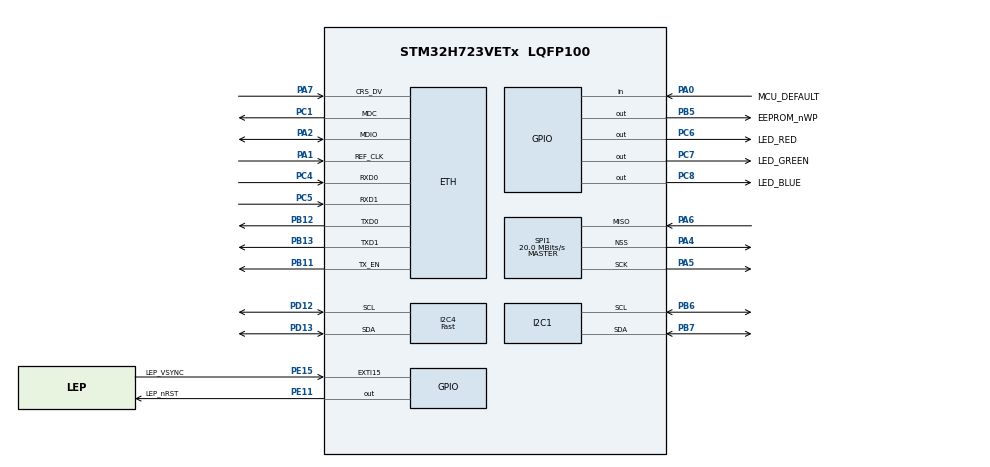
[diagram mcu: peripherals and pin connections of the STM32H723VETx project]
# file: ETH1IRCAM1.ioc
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CORTEX_M7.AccessPermission-Cortex_Memory_Protection_Unit_Region1_Settings=MPU_REGION_FULL_ACCESS
CORTEX_M7.AccessPermission-Cortex_Memory_Protection_Unit_Region2_Settings=MPU_REGION_FULL_ACCESS
CORTEX_M7.AccessPermission_S-Cortex_Memory_Protection_Unit_Region1_Settings_S=MPU_REGION_FULL_ACCESS
CORTEX_M7.AccessPermission_S-Cortex_Memory_Protection_Unit_Region2_Settings_S=MPU_REGION_FULL_ACCESS
CORTEX_M7.BaseAddress-Cortex_Memory_Protection_Unit_Region1_Settings=0x30000000
CORTEX_M7.BaseAddress-Cortex_Memory_Protection_Unit_Region2_Settings=0x30000000
CORTEX_M7.BaseAddress_S-Cortex_Memory_Protection_Unit_Region1_Settings_S=0x30000000
CORTEX_M7.BaseAddress_S-Cortex_Memory_Protection_Unit_Region2_Settings_S=0x30000000
CORTEX_M7.CPU_DCache=Enabled
CORTEX_M7.CPU_ICache=Enabled
CORTEX_M7.DisableExec-Cortex_Memory_Protection_Unit_Region0_Settings=MPU_INSTRUCTION_ACCESS_DISABLE
CORTEX_M7.DisableExec-Cortex_Memory_Protection_Unit_Region1_Settings=MPU_INSTRUCTION_ACCESS_DISABLE
CORTEX_M7.DisableExec-Cortex_Memory_Protection_Unit_Region2_Settings=MPU_INSTRUCTION_ACCESS_DISABLE
CORTEX_M7.DisableExec_S-Cortex_Memory_Protection_Unit_Region1_Settings_S=MPU_INSTRUCTION_ACCESS_DISABLE
CORTEX_M7.DisableExec_S-Cortex_Memory_Protection_Unit_Region2_Settings_S=MPU_INSTRUCTION_ACCESS_DISABLE
CORTEX_M7.Enable-Cortex_Memory_Protection_Unit_Region0_Settings=MPU_REGION_ENABLE
CORTEX_M7.Enable-Cortex_Memory_Protection_Unit_Region1_Settings=MPU_REGION_ENABLE
CORTEX_M7.Enable-Cortex_Memory_Protection_Unit_Region2_Settings=MPU_REGION_ENABLE
CORTEX_M7.Enable_S-Cortex_Memory_Protection_Unit_Region1_Settings_S=MPU_REGION_ENABLE
CORTEX_M7.Enable_S-Cortex_Memory_Protection_Unit_Region2_Settings_S=MPU_REGION_ENABLE
CORTEX_M7.IsBufferable-Cortex_Memory_Protection_Unit_Region2_Settings=MPU_ACCESS_BUFFERABLE
CORTEX_M7.IsBufferable_S-Cortex_Memory_Protection_Unit_Region2_Settings_S=MPU_ACCESS_BUFFERABLE
CORTEX_M7.IsShareable-Cortex_Memory_Protection_Unit_Region0_Settings=MPU_ACCESS_SHAREABLE
CORTEX_M7.IsShareable-Cortex_Memory_Protection_Unit_Region2_Settings=MPU_ACCESS_SHAREABLE
CORTEX_M7.IsShareable_S-Cortex_Memory_Protection_Unit_Region2_Settings_S=MPU_ACCESS_SHAREABLE
CORTEX_M7.MPU_Control=MPU_PRIVILEGED_DEFAULT
CORTEX_M7.Size-Cortex_Memory_Protection_Unit_Region0_Settings=MPU_REGION_SIZE_4GB
CORTEX_M7.Size-Cortex_Memory_Protection_Unit_Region1_Settings=MPU_REGION_SIZE_32KB
CORTEX_M7.Size-Cortex_Memory_Protection_Unit_Region2_Settings=MPU_REGION_SIZE_512B
CORTEX_M7.Size_S-Cortex_Memory_Protection_Unit_Region1_Settings_S=MPU_REGION_SIZE_32KB
CORTEX_M7.Size_S-Cortex_Memory_Protection_Unit_Region2_Settings_S=MPU_REGION_SIZE_512B
CORTEX_M7.SubRegionDisable-Cortex_Memory_Protection_Unit_Region0_Settings=0x87
CORTEX_M7.TypeExtField-Cortex_Memory_Protection_Unit_Region1_Settings=MPU_TEX_LEVEL1
CORTEX_M7.TypeExtField_S-Cortex_Memory_Protection_Unit_Region1_Settings_S=MPU_TEX_LEVEL1
CORTEX_M7.default_mode_Activation=0
CRC.InputDataInversionMode=CRC_INPUTDATA_INVERSION_NONE
ETH.MediaInterface=HAL_ETH_RMII_MODE
FREERTOS.MEMORY_ALLOCATION=2
FREERTOS.Mutexes01=LeptonMutex,Static,LeptonMutexControlBlock
FREERTOS.Tasks01=defaultTask,24,512,StartDefaultTask,Default,NULL,Static,defaultTaskBuffer,defaultTaskControlBlock
FREERTOS.configENABLE_FPU=1
FREERTOS.configMINIMAL_STACK_SIZE=512
FREERTOS.configTOTAL_HEAP_SIZE=30720
FREERTOS.configUSE_NEWLIB_REENTRANT=1
I2C1.Timing=0x20B0BBFF
I2C4.I2C_Speed_Mode=I2C_Fast
I2C4.Timing=0x00D048F6
LWIP.BSP.number=1
LWIP.DEFAULT_THREAD_STACKSIZE=2048
LWIP.GATEWAY_ADDRESS=192.168.001.001
LWIP.IP_ADDRESS=192.168.001.056
LWIP.LWIP_DHCP=0
LWIP.LWIP_RAM_HEAP_POINTER=0x30000200
LWIP.MEM_SIZE=32232
LWIP.NETMASK_ADDRESS=255.255.255.000
LWIP.TCPIP_THREAD_STACKSIZE=2048
LWIP.Version=v2.1.2_Cube
LWIP0.BSP.STBoard=false
LWIP0.BSP.api=BSP_COMPONENT_DRIVER
LWIP0.BSP.component=LAN8742
LWIP0.BSP.instance=LAN8742
LWIP0.BSP.name=Driver_PHY
LWIP0.BSP.semaphore=S_LAN8742
LWIP0.BSP.solution=LAN8742
Mcu.Family=STM32H7
Mcu.Name=STM32H723VETx
Mcu.Package=LQFP100
NVIC.ETH_IRQn=true\:5\:0\:false\:false\:true\:true\:true\:true\:true
NVIC.PriorityGroup=NVIC_PRIORITYGROUP_4
NVIC.TIM1_UP_IRQn=true\:15\:0\:false\:false\:true\:false\:false\:true\:true
NVIC.TimeBase=TIM1_UP_IRQn
NVIC.TimeBaseIP=TIM1
PA0.GPIO_Label=MCU_DEFAULT
PA0.Signal=GPIO_Input
PA1.GPIO_Speed=GPIO_SPEED_FREQ_VERY_HIGH
PA1.Mode=RMII
PA1.Signal=ETH_REF_CLK
PA13(JTMS/SWDIO).Mode=Serial_Wire
PA13(JTMS/SWDIO).Signal=DEBUG_JTMS-SWDIO
PA14(JTCK/SWCLK).Mode=Serial_Wire
PA14(JTCK/SWCLK).Signal=DEBUG_JTCK-SWCLK
PA2.GPIO_Speed=GPIO_SPEED_FREQ_VERY_HIGH
PA2.Mode=RMII
PA2.Signal=ETH_MDIO
PA4.GPIO_PuPd=GPIO_PULLUP
PA4.GPIO_Speed=GPIO_SPEED_FREQ_VERY_HIGH
PA4.Mode=NSS_Signal_Hard_Output
PA4.Signal=SPI1_NSS
PA5.GPIO_PuPd=GPIO_NOPULL
PA5.GPIO_Speed=GPIO_SPEED_FREQ_VERY_HIGH
PA5.Mode=RX_Only_Simplex_Unidirect_Master
PA5.Signal=SPI1_SCK
PA6.GPIO_PuPd=GPIO_NOPULL
PA6.GPIO_Speed=GPIO_SPEED_FREQ_MEDIUM
PA6.Mode=RX_Only_Simplex_Unidirect_Master
PA6.Signal=SPI1_MISO
PA7.GPIO_Speed=GPIO_SPEED_FREQ_VERY_HIGH
PA7.Mode=RMII
PA7.Signal=ETH_CRS_DV
PB11.GPIO_Speed=GPIO_SPEED_FREQ_VERY_HIGH
PB11.Mode=RMII
PB11.Signal=ETH_TX_EN
PB12.GPIO_Speed=GPIO_SPEED_FREQ_VERY_HIGH
PB12.Mode=RMII
PB12.Signal=ETH_TXD0
PB13.GPIO_Speed=GPIO_SPEED_FREQ_VERY_HIGH
PB13.Mode=RMII
PB13.Signal=ETH_TXD1
PB5.GPIO_Label=EEPROM_nWP
PB5.GPIO_Speed=GPIO_SPEED_FREQ_HIGH
PB5.PinState=GPIO_PIN_SET
PB5.Signal=GPIO_Output
PB6.Mode=I2C
PB6.Signal=I2C1_SCL
PB7.Mode=I2C
PB7.Signal=I2C1_SDA
PC1.GPIO_Speed=GPIO_SPEED_FREQ_VERY_HIGH
PC1.Mode=RMII
PC1.Signal=ETH_MDC
PC4.GPIO_Speed=GPIO_SPEED_FREQ_VERY_HIGH
PC4.Mode=RMII
PC4.Signal=ETH_RXD0
PC5.GPIO_Speed=GPIO_SPEED_FREQ_VERY_HIGH
PC5.Mode=RMII
PC5.Signal=ETH_RXD1
PC6.GPIO_Label=LED_RED
PC6.GPIO_Speed=GPIO_SPEED_FREQ_HIGH
PC6.PinState=GPIO_PIN_SET
PC6.Signal=GPIO_Output
PC7.GPIO_Label=LED_GREEN
PC7.GPIO_Speed=GPIO_SPEED_FREQ_HIGH
PC7.PinState=GPIO_PIN_SET
PC7.Signal=GPIO_Output
PC8.GPIO_Label=LED_BLUE
PC8.GPIO_Speed=GPIO_SPEED_FREQ_HIGH
PC8.PinState=GPIO_PIN_SET
PC8.Signal=GPIO_Output
PD12.Mode=I2C
PD12.Signal=I2C4_SCL
PD13.Mode=I2C
PD13.Signal=I2C4_SDA
PE11.GPIO_Label=LEP_nRST
PE11.GPIO_Speed=GPIO_SPEED_FREQ_HIGH
PE11.PinState=GPIO_PIN_SET
PE11.Signal=GPIO_Output
PE15.GPIO_Label=LEP_VSYNC
PE15.Signal=GPXTI15
PH0-OSC_IN.Mode=HSE-External-Oscillator
PH0-OSC_IN.Signal=RCC_OSC_IN
PH1-OSC_OUT.Mode=HSE-External-Oscillator
PH1-OSC_OUT.Signal=RCC_OSC_OUT
ProjectManager.HeapSize=0x200
ProjectManager.StackSize=0x400
ProjectManager.TargetToolchain=STM32CubeIDE
RCC.ADCFreq_Value=160000000
RCC.APB1Freq_Value=135000000
RCC.APB2Freq_Value=135000000
RCC.APB3Freq_Value=135000000
RCC.APB4Freq_Value=135000000
RCC.CortexFreq_Value=540000000
RCC.D1PPRE=RCC_APB3_DIV2
RCC.D2PPRE1=RCC_APB1_DIV2
RCC.D2PPRE2=RCC_APB2_DIV2
RCC.D3PPRE=RCC_APB4_DIV2
RCC.DIVM1=4
RCC.DIVM2=2
RCC.DIVN1=135
RCC.DIVN2=40
RCC.DIVP1=1
RCC.HCLKFreq_Value=270000000
RCC.HPRE=RCC_HCLK_DIV2
RCC.HSE_VALUE=16000000
RCC.PLLSourceVirtual=RCC_PLLSOURCE_HSE
RCC.SPI123CLockSelection=RCC_SPI123CLKSOURCE_PLL2
RCC.SYSCLKFreq_VALUE=540000000
RCC.SYSCLKSource=RCC_SYSCLKSOURCE_PLLCLK
RCC.USBFreq_Value=270000000
SPI1.BaudRatePrescaler=SPI_BAUDRATEPRESCALER_8
SPI1.CLKPhase=SPI_PHASE_2EDGE
SPI1.CLKPolarity=SPI_POLARITY_HIGH
SPI1.CalculateBaudRate=20.0 MBits/s
SPI1.DataSize=SPI_DATASIZE_8BIT
SPI1.Direction=SPI_DIRECTION_2LINES_RXONLY
SPI1.FirstBit=SPI_FIRSTBIT_MSB
SPI1.MasterSSIdleness=SPI_MASTER_SS_IDLENESS_00CYCLE
SPI1.Mode=SPI_MODE_MASTER
SPI1.TIMode=SPI_TIMODE_DISABLE
SPI1.VirtualNSS=VM_NSSHARD
SPI1.VirtualType=VM_MASTER
VP_CRC_VS_CRC.Mode=CRC_Activate
VP_FREERTOS_VS_CMSIS_V2.Mode=CMSIS_V2
VP_LWIP_VS_Enabled.Mode=Enabled
VP_RNG_VS_RNG.Mode=RNG_Activate
VP_SYS_VS_tim1.Mode=TIM1
board=custom

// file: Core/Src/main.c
/* USER CODE BEGIN Header */
/**
  ******************************************************************************
  * @file           : main.c
  * @brief          : Main program body
  ******************************************************************************
  * @attention
  *
  * Copyright (c) 2024 STMicroelectronics.
  * All rights reserved.
  *
  * This software is licensed under terms that can be found in the LICENSE file
  * in the root directory of this software component.
  * If no LICENSE file comes with this software, it is provided AS-IS.
  *
  ******************************************************************************
  */
/* USER CODE END Header */
#include "main.h"
#include "cmsis_os.h"
#include "lwip.h"

/* USER CODE BEGIN Includes */
#include "SCPI_Server.h"
#include "LED.h"
#include "Lepton.h"
#include "BSP.h"

/* USER CODE END Includes */

typedef StaticTask_t osStaticThreadDef_t;
typedef StaticSemaphore_t osStaticMutexDef_t;

I2C_HandleTypeDef hi2c1;
I2C_HandleTypeDef hi2c4;

SPI_HandleTypeDef hspi1;

/* Definitions for defaultTask */
osThreadId_t defaultTaskHandle;
uint32_t defaultTaskBuffer[ 512 ];
osStaticThreadDef_t defaultTaskControlBlock;
const osThreadAttr_t defaultTask_attributes = {
  .name = "defaultTask",
  .cb_mem = &defaultTaskControlBlock,
  .cb_size = sizeof(defaultTaskControlBlock),
  .stack_mem = &defaultTaskBuffer[0],
  .stack_size = sizeof(defaultTaskBuffer),
  .priority = (osPriority_t) osPriorityNormal,
};
/* Definitions for LeptonMutex */
osMutexId_t LeptonMutexHandle;
osStaticMutexDef_t LeptonMutexControlBlock;
const osMutexAttr_t LeptonMutex_attributes = {
  .name = "LeptonMutex",
  .cb_mem = &LeptonMutexControlBlock,
  .cb_size = sizeof(LeptonMutexControlBlock),
};
/* USER CODE BEGIN PV */
extern osThreadId_t defaultTaskHandle;
extern const osThreadAttr_t LeptonTask_attributes;
extern cci_result_t lep_init_status;
/* USER CODE END PV */

void SystemClock_Config(void);
void PeriphCommonClock_Config(void);
static void MPU_Config(void);
static void MX_GPIO_Init(void);
static void MX_SPI1_Init(void);
static void MX_I2C1_Init(void);
static void MX_I2C4_Init(void);
static void MX_CRC_Init(void);
static void MX_RNG_Init(void);
void StartDefaultTask(void *argument);

int main(void)
{

  /* MPU Configuration--------------------------------------------------------*/
  MPU_Config();
/* Enable the CPU Cache */

  /* Enable I-Cache---------------------------------------------------------*/
  SCB_EnableICache();

  /* Enable D-Cache---------------------------------------------------------*/
  SCB_EnableDCache();

  /* MCU Configuration--------------------------------------------------------*/

  /* Reset of all peripherals, Initializes the Flash interface and the Systick. */
  HAL_Init();

  /* Configure the system clock */
  SystemClock_Config();

/* Configure the peripherals common clocks */
  PeriphCommonClock_Config();

  /* Initialize all configured peripherals */
  MX_GPIO_Init();
  MX_SPI1_Init();
  MX_I2C1_Init();
  MX_I2C4_Init();
  MX_CRC_Init();
  MX_RNG_Init();
  /* USER CODE BEGIN 2 */
  LED_Control(BLUE, 1);
  HAL_Delay(100); // Need this wait to get lwip to work
  BSP_Init();
  /* USER CODE END 2 */

  /* Init scheduler */
  osKernelInitialize();
  /* Create the mutex(es) */
  /* creation of LeptonMutex */
  LeptonMutexHandle = osMutexNew(&LeptonMutex_attributes);

  /* Create the thread(s) */
  /* creation of defaultTask */
  defaultTaskHandle = osThreadNew(StartDefaultTask, NULL, &defaultTask_attributes);

  /* Start scheduler */
  osKernelStart();

  /* We should never get here as control is now taken by the scheduler */
  /* Infinite loop */
  while (1)
  {

  }
}

void SystemClock_Config(void)
{
  LL_FLASH_SetLatency(LL_FLASH_LATENCY_3);
  while(LL_FLASH_GetLatency()!= LL_FLASH_LATENCY_3)
  {
  }
  LL_PWR_ConfigSupply(LL_PWR_LDO_SUPPLY);
  LL_PWR_SetRegulVoltageScaling(LL_PWR_REGU_VOLTAGE_SCALE0);
  while (LL_PWR_IsActiveFlag_VOS() == 0)
  {
  }
  LL_RCC_HSE_Enable();

   /* Wait till HSE is ready */
  while(LL_RCC_HSE_IsReady() != 1)
  {

  }
  LL_RCC_HSI48_Enable();

   /* Wait till HSI48 is ready */
  while(LL_RCC_HSI48_IsReady() != 1)
  {

  }
  LL_RCC_PLL_SetSource(LL_RCC_PLLSOURCE_HSE);
  LL_RCC_PLL1P_Enable();
  LL_RCC_PLL1R_Enable();
  LL_RCC_PLL1_SetVCOInputRange(LL_RCC_PLLINPUTRANGE_4_8);
  LL_RCC_PLL1_SetVCOOutputRange(LL_RCC_PLLVCORANGE_WIDE);
  LL_RCC_PLL1_SetM(4);
  LL_RCC_PLL1_SetN(135);
  LL_RCC_PLL1_SetP(1);
  LL_RCC_PLL1_SetQ(2);
  LL_RCC_PLL1_SetR(2);
  LL_RCC_PLL1_Enable();

   /* Wait till PLL is ready */
  while(LL_RCC_PLL1_IsReady() != 1)
  {
  }

   /* Intermediate AHB prescaler 2 when target frequency clock is higher than 80 MHz */
   LL_RCC_SetAHBPrescaler(LL_RCC_AHB_DIV_2);

  LL_RCC_SetSysClkSource(LL_RCC_SYS_CLKSOURCE_PLL1);

   /* Wait till System clock is ready */
  while(LL_RCC_GetSysClkSource() != LL_RCC_SYS_CLKSOURCE_STATUS_PLL1)
  {

  }
  LL_RCC_SetSysPrescaler(LL_RCC_SYSCLK_DIV_1);
  LL_RCC_SetAHBPrescaler(LL_RCC_AHB_DIV_2);
  LL_RCC_SetAPB1Prescaler(LL_RCC_APB1_DIV_2);
  LL_RCC_SetAPB2Prescaler(LL_RCC_APB2_DIV_2);
  LL_RCC_SetAPB3Prescaler(LL_RCC_APB3_DIV_2);
  LL_RCC_SetAPB4Prescaler(LL_RCC_APB4_DIV_2);
  LL_SetSystemCoreClock(540000000);

   /* Update the time base */
  if (HAL_InitTick (TICK_INT_PRIORITY) != HAL_OK)
  {
    Error_Handler();
  }
}

void PeriphCommonClock_Config(void)
{
  LL_RCC_PLL2P_Enable();
  LL_RCC_PLL2_SetVCOInputRange(LL_RCC_PLLINPUTRANGE_8_16);
  LL_RCC_PLL2_SetVCOOutputRange(LL_RCC_PLLVCORANGE_WIDE);
  LL_RCC_PLL2_SetM(2);
  LL_RCC_PLL2_SetN(40);
  LL_RCC_PLL2_SetP(2);
  LL_RCC_PLL2_SetQ(2);
  LL_RCC_PLL2_SetR(2);
  LL_RCC_PLL2_Enable();

   /* Wait till PLL is ready */
  while(LL_RCC_PLL2_IsReady() != 1)
  {
  }

}

static void MX_CRC_Init(void)
{

  /* Peripheral clock enable */
  LL_AHB4_GRP1_EnableClock(LL_AHB4_GRP1_PERIPH_CRC);

  LL_CRC_SetInputDataReverseMode(CRC, LL_CRC_INDATA_REVERSE_NONE);
  LL_CRC_SetOutputDataReverseMode(CRC, LL_CRC_OUTDATA_REVERSE_NONE);
  LL_CRC_SetPolynomialCoef(CRC, LL_CRC_DEFAULT_CRC32_POLY);
  LL_CRC_SetPolynomialSize(CRC, LL_CRC_POLYLENGTH_32B);
  LL_CRC_SetInitialData(CRC, LL_CRC_DEFAULT_CRC_INITVALUE);

}

static void MX_I2C1_Init(void)
{

  hi2c1.Instance = I2C1;
  hi2c1.Init.Timing = 0x20B0BBFF;
  hi2c1.Init.OwnAddress1 = 0;
  hi2c1.Init.AddressingMode = I2C_ADDRESSINGMODE_7BIT;
  hi2c1.Init.DualAddressMode = I2C_DUALADDRESS_DISABLE;
  hi2c1.Init.OwnAddress2 = 0;
  hi2c1.Init.OwnAddress2Masks = I2C_OA2_NOMASK;
  hi2c1.Init.GeneralCallMode = I2C_GENERALCALL_DISABLE;
  hi2c1.Init.NoStretchMode = I2C_NOSTRETCH_DISABLE;
  if (HAL_I2C_Init(&hi2c1) != HAL_OK)
  {
    Error_Handler();
  }

  /** Configure Analogue filter
  */
  if (HAL_I2CEx_ConfigAnalogFilter(&hi2c1, I2C_ANALOGFILTER_ENABLE) != HAL_OK)
  {
    Error_Handler();
  }

  /** Configure Digital filter
  */
  if (HAL_I2CEx_ConfigDigitalFilter(&hi2c1, 0) != HAL_OK)
  {
    Error_Handler();
  }

}

static void MX_I2C4_Init(void)
{

  hi2c4.Instance = I2C4;
  hi2c4.Init.Timing = 0x00D048F6;
  hi2c4.Init.OwnAddress1 = 0;
  hi2c4.Init.AddressingMode = I2C_ADDRESSINGMODE_7BIT;
  hi2c4.Init.DualAddressMode = I2C_DUALADDRESS_DISABLE;
  hi2c4.Init.OwnAddress2 = 0;
  hi2c4.Init.OwnAddress2Masks = I2C_OA2_NOMASK;
  hi2c4.Init.GeneralCallMode = I2C_GENERALCALL_DISABLE;
  hi2c4.Init.NoStretchMode = I2C_NOSTRETCH_DISABLE;
  if (HAL_I2C_Init(&hi2c4) != HAL_OK)
  {
    Error_Handler();
  }

  /** Configure Analogue filter
  */
  if (HAL_I2CEx_ConfigAnalogFilter(&hi2c4, I2C_ANALOGFILTER_ENABLE) != HAL_OK)
  {
    Error_Handler();
  }

  /** Configure Digital filter
  */
  if (HAL_I2CEx_ConfigDigitalFilter(&hi2c4, 0) != HAL_OK)
  {
    Error_Handler();
  }

}

static void MX_RNG_Init(void)
{

  LL_RCC_SetRNGClockSource(LL_RCC_RNG_CLKSOURCE_HSI48);

  /* Peripheral clock enable */
  LL_AHB2_GRP1_EnableClock(LL_AHB2_GRP1_PERIPH_RNG);

  LL_RNG_Enable(RNG);

}

static void MX_SPI1_Init(void)
{

  /* SPI1 parameter configuration*/
  hspi1.Instance = SPI1;
  hspi1.Init.Mode = SPI_MODE_MASTER;
  hspi1.Init.Direction = SPI_DIRECTION_2LINES_RXONLY;
  hspi1.Init.DataSize = SPI_DATASIZE_8BIT;
  hspi1.Init.CLKPolarity = SPI_POLARITY_HIGH;
  hspi1.Init.CLKPhase = SPI_PHASE_2EDGE;
  hspi1.Init.NSS = SPI_NSS_HARD_OUTPUT;
  hspi1.Init.BaudRatePrescaler = SPI_BAUDRATEPRESCALER_8;
  hspi1.Init.FirstBit = SPI_FIRSTBIT_MSB;
  hspi1.Init.TIMode = SPI_TIMODE_DISABLE;
  hspi1.Init.CRCCalculation = SPI_CRCCALCULATION_DISABLE;
  hspi1.Init.CRCPolynomial = 0x0;
  hspi1.Init.NSSPMode = SPI_NSS_PULSE_ENABLE;
  hspi1.Init.NSSPolarity = SPI_NSS_POLARITY_LOW;
  hspi1.Init.FifoThreshold = SPI_FIFO_THRESHOLD_01DATA;
  hspi1.Init.TxCRCInitializationPattern = SPI_CRC_INITIALIZATION_ALL_ZERO_PATTERN;
  hspi1.Init.RxCRCInitializationPattern = SPI_CRC_INITIALIZATION_ALL_ZERO_PATTERN;
  hspi1.Init.MasterSSIdleness = SPI_MASTER_SS_IDLENESS_00CYCLE;
  hspi1.Init.MasterInterDataIdleness = SPI_MASTER_INTERDATA_IDLENESS_00CYCLE;
  hspi1.Init.MasterReceiverAutoSusp = SPI_MASTER_RX_AUTOSUSP_DISABLE;
  hspi1.Init.MasterKeepIOState = SPI_MASTER_KEEP_IO_STATE_DISABLE;
  hspi1.Init.IOSwap = SPI_IO_SWAP_DISABLE;
  if (HAL_SPI_Init(&hspi1) != HAL_OK)
  {
    Error_Handler();
  }

}

static void MX_GPIO_Init(void)
{
  LL_EXTI_InitTypeDef EXTI_InitStruct = {0};
  LL_GPIO_InitTypeDef GPIO_InitStruct = {0};

  /* GPIO Ports Clock Enable */
  LL_AHB4_GRP1_EnableClock(LL_AHB4_GRP1_PERIPH_GPIOH);
  LL_AHB4_GRP1_EnableClock(LL_AHB4_GRP1_PERIPH_GPIOC);
  LL_AHB4_GRP1_EnableClock(LL_AHB4_GRP1_PERIPH_GPIOA);
  LL_AHB4_GRP1_EnableClock(LL_AHB4_GRP1_PERIPH_GPIOE);
  LL_AHB4_GRP1_EnableClock(LL_AHB4_GRP1_PERIPH_GPIOB);
  LL_AHB4_GRP1_EnableClock(LL_AHB4_GRP1_PERIPH_GPIOD);

  /**/
  LL_GPIO_SetOutputPin(LEP_nRST_GPIO_Port, LEP_nRST_Pin);

  /**/
  LL_GPIO_SetOutputPin(GPIOC, LED_RED_Pin|LED_GREEN_Pin|LED_BLUE_Pin);

  /**/
  LL_GPIO_SetOutputPin(EEPROM_nWP_GPIO_Port, EEPROM_nWP_Pin);

  /**/
  GPIO_InitStruct.Pin = MCU_DEFAULT_Pin;
  GPIO_InitStruct.Mode = LL_GPIO_MODE_INPUT;
  GPIO_InitStruct.Pull = LL_GPIO_PULL_NO;
  LL_GPIO_Init(MCU_DEFAULT_GPIO_Port, &GPIO_InitStruct);

  /**/
  GPIO_InitStruct.Pin = LEP_nRST_Pin;
  GPIO_InitStruct.Mode = LL_GPIO_MODE_OUTPUT;
  GPIO_InitStruct.Speed = LL_GPIO_SPEED_FREQ_HIGH;
  GPIO_InitStruct.OutputType = LL_GPIO_OUTPUT_PUSHPULL;
  GPIO_InitStruct.Pull = LL_GPIO_PULL_NO;
  LL_GPIO_Init(LEP_nRST_GPIO_Port, &GPIO_InitStruct);

  /**/
  GPIO_InitStruct.Pin = LED_RED_Pin|LED_GREEN_Pin|LED_BLUE_Pin;
  GPIO_InitStruct.Mode = LL_GPIO_MODE_OUTPUT;
  GPIO_InitStruct.Speed = LL_GPIO_SPEED_FREQ_HIGH;
  GPIO_InitStruct.OutputType = LL_GPIO_OUTPUT_PUSHPULL;
  GPIO_InitStruct.Pull = LL_GPIO_PULL_NO;
  LL_GPIO_Init(GPIOC, &GPIO_InitStruct);

  /**/
  GPIO_InitStruct.Pin = EEPROM_nWP_Pin;
  GPIO_InitStruct.Mode = LL_GPIO_MODE_OUTPUT;
  GPIO_InitStruct.Speed = LL_GPIO_SPEED_FREQ_HIGH;
  GPIO_InitStruct.OutputType = LL_GPIO_OUTPUT_PUSHPULL;
  GPIO_InitStruct.Pull = LL_GPIO_PULL_NO;
  LL_GPIO_Init(EEPROM_nWP_GPIO_Port, &GPIO_InitStruct);

  /**/
  LL_SYSCFG_SetEXTISource(LL_SYSCFG_EXTI_PORTE, LL_SYSCFG_EXTI_LINE15);

  /**/
  EXTI_InitStruct.Line_0_31 = LL_EXTI_LINE_15;
  EXTI_InitStruct.Line_32_63 = LL_EXTI_LINE_NONE;
  EXTI_InitStruct.Line_64_95 = LL_EXTI_LINE_NONE;
  EXTI_InitStruct.LineCommand = ENABLE;
  EXTI_InitStruct.Mode = LL_EXTI_MODE_IT;
  EXTI_InitStruct.Trigger = LL_EXTI_TRIGGER_RISING;
  LL_EXTI_Init(&EXTI_InitStruct);

  /**/
  LL_GPIO_SetPinPull(LEP_VSYNC_GPIO_Port, LEP_VSYNC_Pin, LL_GPIO_PULL_NO);

  /**/
  LL_GPIO_SetPinMode(LEP_VSYNC_GPIO_Port, LEP_VSYNC_Pin, LL_GPIO_MODE_INPUT);

}

void StartDefaultTask(void *argument)
{
  /* init code for LWIP */
  MX_LWIP_Init();
  /* USER CODE BEGIN 5 */
  osDelay(pdMS_TO_TICKS(100)); // Need this wait to get lwip to work
  SCPI_CreateTask();
  LEP_CreateMainTask();
  /* Infinite loop */
  for(;;)
  {
	  if (CCI_NOT_READY == lep_init_status)
	  {
		  LED_Control(BLUE, 1);
		  osDelay(pdMS_TO_TICKS(10));
	  }
	  else if (CCI_OK == lep_init_status)
	  {
		  if (bsp.default_cfg)
		  {
			  LED_Toggle(BLUE, 5, 2000);
		  }
		  else
		  {
			  LED_Toggle(GREEN, 5, 2000);
		  }
	  }
	  else
	  {
		  LED_Toggle(RED, 5, 2000);
	  }

  }
  /* USER CODE END 5 */
}

/* MPU Configuration */

void MPU_Config(void)
{

  /* Disables the MPU */
  LL_MPU_Disable();

  /** Initializes and configures the Region and the memory to be protected
  */
  LL_MPU_ConfigRegion(LL_MPU_REGION_NUMBER0, 0x87, 0x0, LL_MPU_REGION_SIZE_4GB|LL_MPU_TEX_LEVEL0|LL_MPU_REGION_NO_ACCESS|LL_MPU_INSTRUCTION_ACCESS_DISABLE|LL_MPU_ACCESS_SHAREABLE|LL_MPU_ACCESS_NOT_CACHEABLE|LL_MPU_ACCESS_NOT_BUFFERABLE);
  LL_MPU_EnableRegion(LL_MPU_REGION_NUMBER0);

  /** Initializes and configures the Region and the memory to be protected
  */
  LL_MPU_ConfigRegion(LL_MPU_REGION_NUMBER1, 0x0, 0x30000000, LL_MPU_REGION_SIZE_32KB|LL_MPU_TEX_LEVEL1|LL_MPU_REGION_FULL_ACCESS|LL_MPU_INSTRUCTION_ACCESS_DISABLE|LL_MPU_ACCESS_NOT_SHAREABLE|LL_MPU_ACCESS_NOT_CACHEABLE|LL_MPU_ACCESS_NOT_BUFFERABLE);
  LL_MPU_EnableRegion(LL_MPU_REGION_NUMBER1);

  /** Initializes and configures the Region and the memory to be protected
  */
  LL_MPU_ConfigRegion(LL_MPU_REGION_NUMBER2, 0x0, 0x30000000, LL_MPU_REGION_SIZE_512B|LL_MPU_TEX_LEVEL0|LL_MPU_REGION_FULL_ACCESS|LL_MPU_INSTRUCTION_ACCESS_DISABLE|LL_MPU_ACCESS_SHAREABLE|LL_MPU_ACCESS_NOT_CACHEABLE|LL_MPU_ACCESS_BUFFERABLE);
  LL_MPU_EnableRegion(LL_MPU_REGION_NUMBER2);
  /* Enables the MPU */
  LL_MPU_Enable(LL_MPU_CTRL_PRIVILEGED_DEFAULT);

}

void HAL_TIM_PeriodElapsedCallback(TIM_HandleTypeDef *htim)
{
  if (htim->Instance == TIM1) {
    HAL_IncTick();
  }
}

void Error_Handler(void)
{
  __disable_irq();
  while (1)
  {
  }
}
